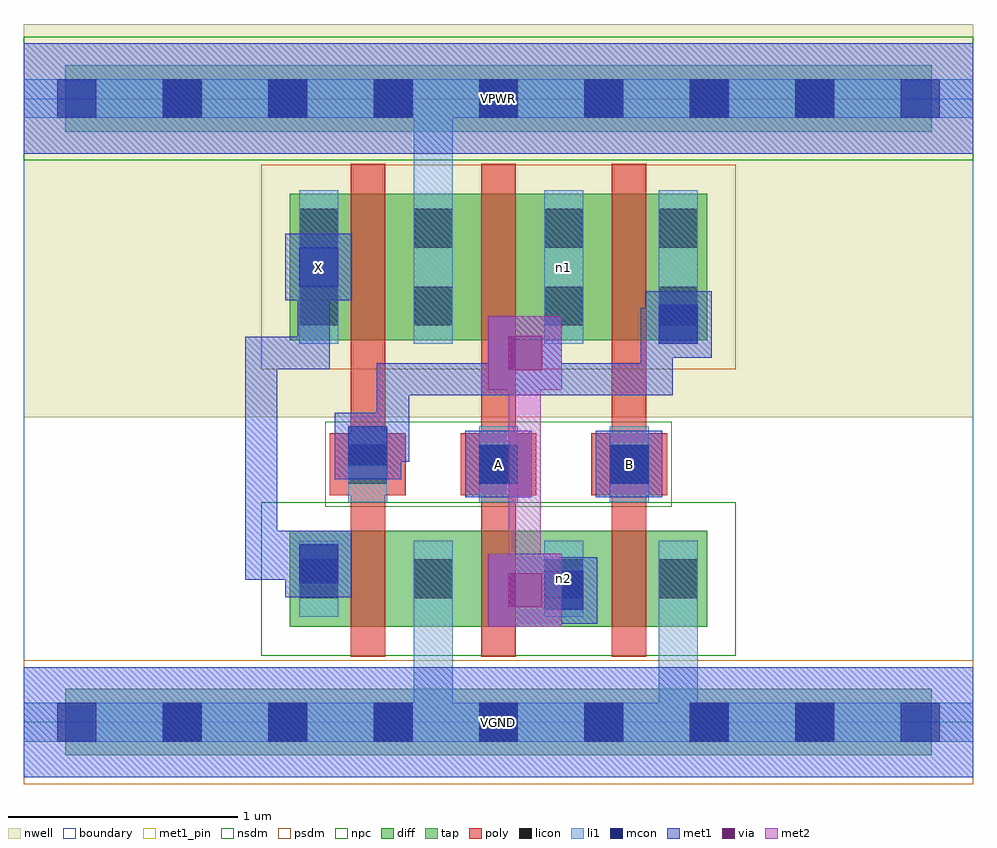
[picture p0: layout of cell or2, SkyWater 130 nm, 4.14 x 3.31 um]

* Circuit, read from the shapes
.subckt or2 A B VGND VPWR X n1 n2
XM1 VGND n2 X VGND sky130_fd_pr__nfet_01v8 w=0.42 l=0.15
XM2 n2 A VGND VGND sky130_fd_pr__nfet_01v8 w=0.42 l=0.15
XM3 VGND B n2 VGND sky130_fd_pr__nfet_01v8 w=0.42 l=0.15
XM4 VPWR n2 X VPWR sky130_fd_pr__pfet_01v8 w=0.64 l=0.15
XM5 n1 A VPWR VPWR sky130_fd_pr__pfet_01v8 w=0.64 l=0.15
XM6 n2 B n1 VPWR sky130_fd_pr__pfet_01v8 w=0.64 l=0.15
.ends

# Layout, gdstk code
import gdstk
lib = gdstk.Library(unit=1e-6, precision=1e-09)
def R(c, l, rs):  # rectangles x0, y0, x1, y1
    for r in rs: c.add(gdstk.rectangle(r[:2], r[2:], *l))
def A(c, l, x, y, w, h, nx, ny, dx, dy):  # array of equal rectangles
    R(c, l, [(x+i*dx, y+j*dy, x+i*dx+w, y+j*dy+h) for i in range(nx) for j in range(ny)])
nwell = (64, 20)
diff = (65, 20)
tap = (65, 44)
poly = (66, 20)
licon = (66, 44)
li1 = (67, 20)
mcon = (67, 44)
met1_pin = (68, 16)
met1 = (68, 20)
via = (68, 44)
met2 = (69, 20)
nsdm = (93, 44)
psdm = (94, 20)
npc = (95, 20)
boundary = (235, 4)

or2 = lib.new_cell('or2')
R(or2, nwell, [(0,1.33,4.14,3.045)])
R(or2, diff, [(1.16,0.415,2.98,0.835), (1.16,1.665,2.98,2.305)])
R(or2, tap, [(0.18,-0.145,3.96,0.145), (0.18,2.575,3.96,2.865)])
A(or2, poly, 1.425, 0.285, 0.15, 2.15, 3, 1, 0.57, 0)
A(or2, poly, 1.335, 0.99, 0.33, 0.27, 3, 1, 0.57, 0)
A(or2, licon, 0.605, -0.085, 0.17, 0.17, 7, 2, 0.46, 2.72)
A(or2, licon, 1.415, 1.04, 0.17, 0.17, 3, 1, 0.57, 0)
R(or2, licon, [(1.2,0.54,1.37,0.71), (1.7,0.54,1.87,0.71), (2.27,0.54,2.44,0.71), (2.77,0.54,2.94,0.71), (1.2,1.73,1.37,1.9), (1.7,1.73,1.87,1.9), (2.27,1.73,2.44,1.9), (2.77,1.73,2.94,1.9), (1.2,2.07,1.37,2.24), (1.7,2.07,1.87,2.24), (2.27,2.07,2.44,2.24), (2.77,2.07,2.94,2.24)])
A(or2, li1, 1.415, 0.96, 0.17, 0.33, 3, 1, 0.57, 0)
R(or2, li1, [(0,-0.085,4.14,0.085), (1.7,-0.085,1.87,0.79), (2.77,-0.085,2.94,0.79), (1.2,0.46,1.37,0.79), (1.7,0.46,1.87,0.79), (2.27,0.46,2.44,0.79), (2.77,0.46,2.94,0.79), (1.2,1.65,1.37,2.32), (1.7,1.65,1.87,2.32), (1.7,1.65,1.87,2.805), (2.27,1.65,2.44,2.32), (2.77,1.65,2.94,2.32), (0,2.635,4.14,2.805)])
A(or2, mcon, 0.145, -0.085, 0.17, 0.17, 9, 2, 0.46, 2.72)
R(or2, mcon, [(2.27,0.49,2.44,0.66), (1.2,0.605,1.37,0.775), (1.985,1.04,2.155,1.21), (2.555,1.04,2.725,1.21), (1.415,1.12,1.585,1.29), (2.77,1.65,2.94,1.82), (1.2,1.9,1.37,2.07)])
R(or2, met1_pin, [(0,-0.24,4.14,0.24), (1.925,0.98,2.215,1.27), (2.495,0.98,2.785,1.27), (1.14,1.84,1.43,2.13), (0,2.48,4.14,2.96)])
R(or2, met1, [(0,-0.24,4.14,0.24), (2.025,0.415,2.345,0.735), (2.21,0.43,2.5,0.72), (2.115,0.505,2.425,0.645), (1.14,0.545,1.43,0.835), (0.965,0.62,1.105,1.68), (0.965,0.62,1.22,0.76), (1.08,0.62,1.355,0.76), (1.105,0.62,1.14,0.835), (1.925,0.98,2.215,1.27), (2.495,0.98,2.785,1.27), (1.355,1.06,1.645,1.35), (1.43,1.135,1.68,1.275), (1.54,1.135,1.68,1.45), (1.54,1.31,1.68,1.565), (1.54,1.425,2.83,1.565), (2.115,1.425,2.255,1.68), (2.69,1.425,2.83,1.68), (2.025,1.45,2.345,1.77), (0.965,1.54,1.335,1.68), (1.195,1.54,1.335,2.025), (2.69,1.54,2.83,1.805), (2.71,1.59,3,1.88), (2.69,1.665,2.925,1.805), (1.14,1.84,1.43,2.13), (1.195,1.885,1.335,2.025), (0,2.48,4.14,2.96)])
R(or2, via, [(2.11,0.5,2.26,0.65), (2.11,1.535,2.26,1.685)])
R(or2, met2, [(2.025,0.415,2.345,0.735), (2.115,0.505,2.255,1.68), (2.025,1.45,2.345,1.77)])
R(or2, nsdm, [(1.035,0.29,3.105,0.96), (0,2.45,4.14,2.99)])
R(or2, psdm, [(0,-0.27,4.14,0.27), (1.035,1.54,3.105,2.43)])
R(or2, npc, [(1.315,0.94,2.825,1.31)])
R(or2, boundary, [(0,0,4.14,2.72)])
or2.add(gdstk.Label('n2', (2.355,0.625), layer=67, texttype=5))
or2.add(gdstk.Label('n1', (2.355,1.985), layer=67, texttype=5))
or2.add(gdstk.Label('A', (2.07,1.125), layer=68, texttype=5))
or2.add(gdstk.Label('B', (2.64,1.125), layer=68, texttype=5))
or2.add(gdstk.Label('X', (1.285,1.985), layer=68, texttype=5))
or2.add(gdstk.Label('VPWR', (2.07,2.72), layer=68, texttype=5))
or2.add(gdstk.Label('VGND', (2.07,0), layer=68, texttype=5))
or2.add(gdstk.Label('A', (2.07,1.125), layer=68, texttype=16))
or2.add(gdstk.Label('B', (2.64,1.125), layer=68, texttype=16))
or2.add(gdstk.Label('X', (1.285,1.985), layer=68, texttype=16))
or2.add(gdstk.Label('VPWR', (2.07,2.72), layer=68, texttype=16))
or2.add(gdstk.Label('VGND', (2.07,0), layer=68, texttype=16))

lib.write_gds('or2.gds')
